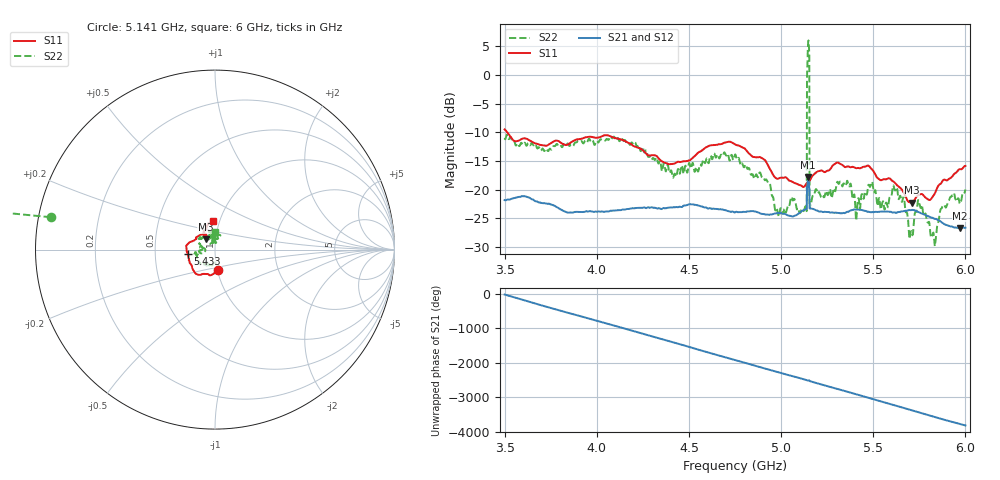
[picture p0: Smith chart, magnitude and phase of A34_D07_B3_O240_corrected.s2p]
! Created with skrf 1.9.0 (http://scikit-rf.org).
# Hz S RI R 50.0
!freq ReS11 ImS11 ReS21 ImS21 ReS12 ImS12 ReS22 ImS22
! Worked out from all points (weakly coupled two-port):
!   1601 points, 3.5 GHz to 6 GHz, reference 50 ohm
!   highest |S21| = -17.81 dB at 5.147 GHz (marker M1); lowest = -26.7 dB at 5.972 GHz (marker M2)
!   lowest |S11| = -22.3 dB at 5.709 GHz (marker M3), VSWR 1.17, Z = 44.9 + j5.2 ohm
!   |S11| at or under -10 dB: 3.514 GHz to end of sweep
!   |S22| runs from -29.9 to 6.0 dB; largest |S21 - S12| = 0.0012
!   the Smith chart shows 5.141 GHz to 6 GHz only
!   S11 on the Smith chart (normalised r, x): 5.141 GHz: 1.00, -0.23; 5.433 GHz: 0.74, -0.04; 6 GHz: 0.93, +0.31
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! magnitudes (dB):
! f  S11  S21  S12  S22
! 3.5 GHz  -9.5  -21.8  -21.8  -11.1
! 3.917 GHz  -11.1  -23.9  -23.9  -11.5
! 4.334 GHz  -14.5  -23.3  -23.2  -15.5
! 4.75 GHz  -12.1  -24.0  -23.9  -13.9
! 4.93 GHz  -15.9  -24.4  -24.3  -18.8
! 4.98 GHz  -18.1  -24.1  -24.1  -23.7
! 5.112 GHz  -19.4  -23.7  -23.7  -23.5
! 5.127 GHz  -19.5  -23.5  -23.5  -23.5
! 5.141 GHz  -18.8  -20.2  -20.1  -0.6
! 5.147 GHz  -18.7  -17.8  -17.8  5.6
! 5.153 GHz  -18.5  -20.0  -20.0  3.4
! 5.167 GHz  -17.7  -23.4  -23.3  -21.6
! 5.314 GHz  -15.4  -24.1  -24.1  -19.0
! 5.433 GHz  -16.3  -23.6  -23.5  -21.8
! 5.584 GHz  -18.0  -23.9  -23.8  -22.2
! 5.62 GHz  -18.9  -24.0  -24.0  -20.1
! 5.709 GHz  -22.3  -23.6  -23.5  -27.6
! 5.752 GHz  -20.9  -24.0  -24.0  -22.6
! 5.827 GHz  -21.1  -25.0  -25.0  -27.5
! 5.875 GHz  -18.6  -25.8  -25.7  -23.0
! 5.972 GHz  -16.5  -26.7  -26.7  -22.5
! 6 GHz  -15.9  -26.7  -26.6  -20.0
